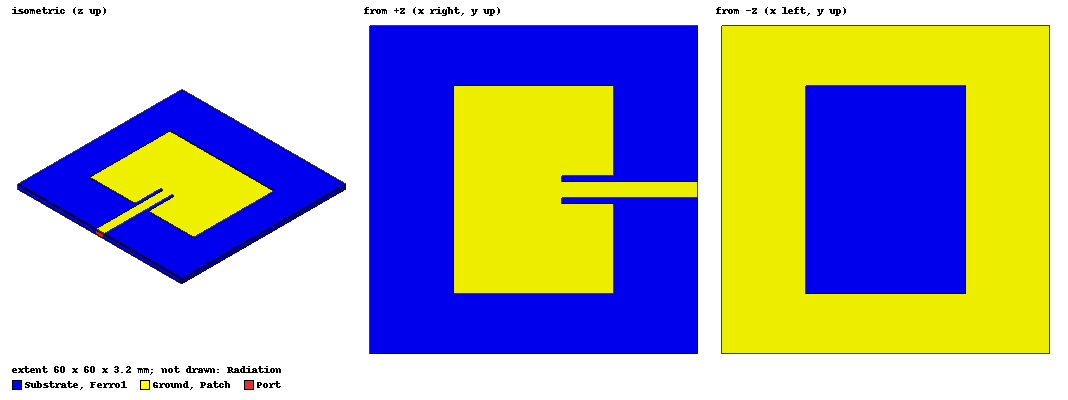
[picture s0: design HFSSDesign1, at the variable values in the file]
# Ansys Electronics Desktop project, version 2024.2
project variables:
  $Loss_tanget = 10
  $Permeability = 0.1
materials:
  vacuum: permittivity=1
  FR4_epoxy: permittivity=4.4 dielectric_loss_tangent=0.02
  air: permittivity=1.0006 permeability=1.0000004
  FR4_epoxy_Low_Dia: permittivity=$Permeability permeability=0.5 dielectric_loss_tangent=0.02 magnetic_loss_tangent=$Loss_tanget

design HFSSDesign1 (HFSS, HFSS Terminal Network, model units mm)
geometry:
  Ground = rectangle(corner=(-30mm, -30mm, 0mm), x_size=60mm, y_size=60mm)
  Substrate [FR4_epoxy] = box(corner=(-30mm, -30mm, 0mm), size=(60mm, 60mm, 1.6mm))
  Patch = rectangle(corner=((-29.4/2) mm, (-38/2) mm, 1.6mm), x_size=29.4mm, y_size=38mm)
  Feed = rectangle(corner=(0mm, -1.5mm, 1.6mm), x_size=30mm, y_size=3mm)
  Cut = rectangle(corner=(14.7mm, -2.5mm, 1.6mm), x_size=-9.5mm, y_size=5mm)
  Patch.subtract(Cut)
  Patch.unite(Feed)
  Port = rectangle(corner=(30mm, -1.5mm, 1.6mm), y_size=3mm, z_size=-1.6mm)
  Radiation [air] = box(corner=(-40mm, -40mm, -20mm), size=(80mm, 80mm, 40mm))
  Ferro1 [FR4_epoxy_Low_Dia] = box(corner=(-14.7mm, (-38/2) mm, -1.6mm), size=(29.4mm, 38mm, 1.6mm))
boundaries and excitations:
  PerfE1: Perfect E Objects=[Ground, Patch]
  Rad1: Radiation Objects=Radiation
  1: Lumped Port Objects=Port LumpedPortType=Modal Modes{Mode1{IntLine{(30, 0, 0) -> (30, 0, 1.6)} CharImp=Zpi}} Impedance=50ohm
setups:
  Setup1: HfssDriven Frequency=2.4GHz MaxDeltaS=0.02 MaximumPasses=20 MinimumPasses=1 MinimumConvergedPasses=1 PercentRefinement=30 BasisOrder=1 PortAccuracy=2 DrivenSolverType="Direct Solver" VariablesForDerivatives($Permeability)
    sweep Sweep: 1GHz to 3GHz step 0.02GHz; Type=Discrete SaveFields
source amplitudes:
  1:1: 1V 0deg
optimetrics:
  ParametricSetup1: Parametric Sim._Setups=[Setup1]
    sweep $Loss_tanget: LIN 0.01 0.1 0.05
    sweep $Permeability: LIN 10 100 1
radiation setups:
  Infinite Sphere1: Infinite Sphere Theta=0deg..0deg step 0deg Phi=0deg..0deg step 0deg
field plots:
  Vector_E1: E Field over Patch.face(at (7.65, 0, 1.6)) on Setup1 : LastAdaptive at Freq=2.4GHz Phase=0deg
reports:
  S Parameter Plot 1: dB(S(1,1)) vs Freq on Setup1 : Sweep
  Gain Plot 2: dB(GainTotal) vs Freq on Setup1 : Sweep, Infinite Sphere1 [Phi=all Theta=all]; markers m1 at 2.2GHz
  Directivity Plot 1: dB(DirTotal) vs Theta, Phi on Setup1 : LastAdaptive, Infinite Sphere1 [Freq=2.4GHz]
  Directivity Plot 2: dB(DirTotal) vs Freq, Phi on Setup1 : LastAdaptive, Infinite Sphere1 [Theta=0deg]
